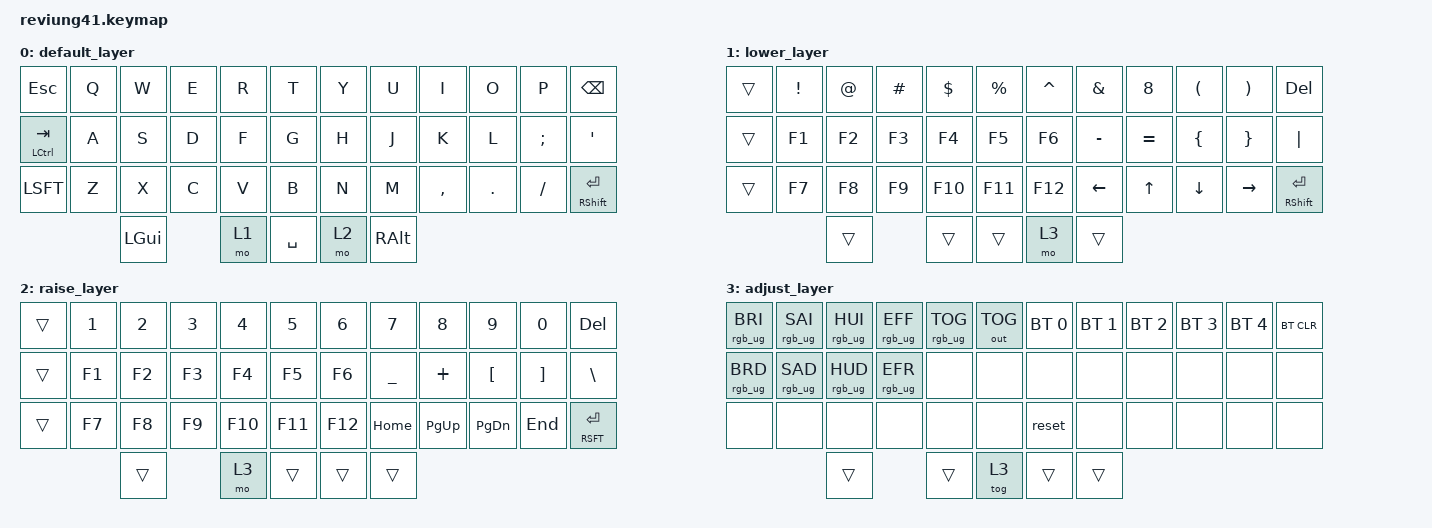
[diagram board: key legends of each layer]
/*
 * Copyright (c) 2020 The ZMK Contributors
 *
 * SPDX-License-Identifier: MIT
 */

#include <behaviors.dtsi>
#include <dt-bindings/zmk/keys.h>
#include <dt-bindings/zmk/bt.h>
#include <dt-bindings/zmk/rgb.h>
#include <dt-bindings/zmk/outputs.h>

/ {
    keymap {
        compatible = "zmk,keymap";

        default_layer {
// -------------------------------------------------------------------------------------
// | ESC  |  Q  |  W  |  E  |  R  |  T  |   |  Y  |  U   |  I  |  O  |  P  |   BKSP    |
// | TAB  |  A  |  S  |  D  |  F  |  G  |   |  H  |  J   |  K  |  L  |  ;  |    '      |
// | CTRL |  Z  |  X  |  C  |  V  |  B  |   |  N  |  M   |  ,  |  .  |  /  | SHFT(RET) |
//                         | GUI | LWR | SPC | RSE  | ALT |
            bindings = <
   &kp ESC       &kp Q &kp W &kp E &kp R &kp T   &kp Y &kp U  &kp I     &kp O   &kp P    &kp BSPC
   &mt LCTRL TAB &kp A &kp S &kp D &kp F &kp G   &kp H &kp J  &kp K     &kp L   &kp SEMI &kp SQT
   &kp LSFT      &kp Z &kp X &kp C &kp V &kp B   &kp N &kp M  &kp COMMA &kp DOT &kp FSLH &mt RSHFT RET
                         &kp LGUI  &mo 1 &kp SPACE &mo 2  &kp RALT
            >;
        };

        lower_layer {
// ------------------------------------------------------------------------------------
// |    |  !  |  @  |  #  |  $  |  %  |   |  ^  |  &   |  *   |  (  |  )  |    DEL    |
// |    |  _  |  +  |  {  |  }  | "|" |   | F6  | MINUS| EQUAL| LBRC| RBRC|   PIPE    |
// |    | ESC | GUI | ALT | CAPS|  "  |   | F12 | LFT  | UP   | DWN | RGT | SHFT(RET) |
//                       |     |     | RET | ADJ |      |
            bindings = <
&trans &kp EXCL &kp AT  &kp HASH &kp DLLR &kp PRCNT      &kp CARET &kp AMPS  &kp N8    &kp LPAR  &kp RPAR  &kp DEL
&trans &kp F1   &kp F2  &kp F3   &kp F4   &kp F5         &kp F6    &kp MINUS &kp EQUAL &kp LBRC  &kp RBRC  &kp PIPE
&trans &kp F7   &kp F8  &kp F9   &kp F10  &kp F11        &kp F12   &kp LEFT  &kp UP    &kp DOWN  &kp RIGHT &mt RSHFT RET
                        &trans      &trans        &trans       &mo 3       &trans
            >;
        };

        raise_layer {
// ----------------------------------------------------------------------------
// |    |  1  |  2  |  3  |  4  |  5  |   |  6  |  7  |  8  |  9  |  0  | DEL |
// |    |  -  |  =  |  [  |  ]  |  \  |   | F6  | UNDR| PLUS| LBKT| RBKT| BSLH|
// |    | ESC | GUI | ALT | CAPS|  "  |   | F7  | F8  | F9  | F10 | F11 | F12 |
//                       |     | ADJ | BKSP |    |     |
            bindings = <
   &trans &kp N1   &kp N2  &kp N3   &kp N4   &kp N5        &kp N6    &kp N7    &kp N8    &kp N9    &kp N0    &kp DEL
   &trans &kp F1   &kp F2  &kp F3   &kp F4   &kp F5        &kp F6    &kp UNDER &kp PLUS  &kp LBKT  &kp RBKT  &kp BSLH      
   &trans &kp F7   &kp F8  &kp F9   &kp F10  &kp F11       &kp F12   &kp HOME  &kp PG_UP &kp PG_DN &kp END   &mt RSFT RET
                               &trans    &mo 3      &trans     &trans    &trans
            >;
        };

        adjust_layer {
// -----------------------------------------------------------------------------------------
// | RGB BRI+ | RGB SAT+ | RGB HUE+ | RGB ANI+ |    | RGB TOG |   |  BT1  | BT2 | BT3 | BT4 | BT5 | BT CLR |
// | RGB BRI- | RGB SAT- | RGB HUE- | RGB ANI+ |    |         |   |       |     |     |     |     |        |
// |          |          |          |          |    |         |   | RESET |     |     |     |     |        |
//                                              |     |     |     |     |     |
            bindings = <
   &rgb_ug RGB_BRI &rgb_ug RGB_SAI &rgb_ug RGB_HUI &rgb_ug RGB_EFF &rgb_ug RGB_TOG &out OUT_TOG &bt BT_SEL 0 &bt BT_SEL 1 &bt BT_SEL 2 &bt BT_SEL 3 &bt BT_SEL 4 &bt BT_CLR
   &rgb_ug RGB_BRD &rgb_ug RGB_SAD &rgb_ug RGB_HUD &rgb_ug RGB_EFR &none           &none        &none        &none        &none        &none        &none        &none
   &none           &none           &none           &none           &none           &none        &reset       &none        &none        &none        &none        &none
                                                       &trans      &trans       &tog 3        &trans      &trans
            >;
        };
    };
};
